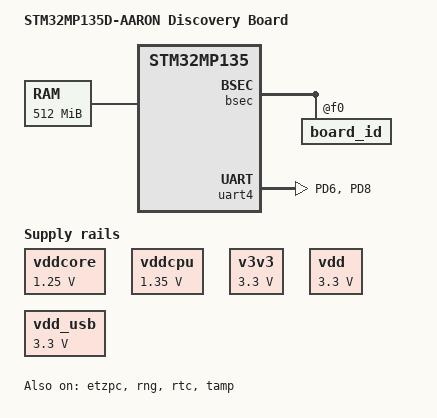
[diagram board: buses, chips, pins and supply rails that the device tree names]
// SPDX-License-Identifier: (GPL-2.0-or-later OR BSD-3-Clause)
/*
 * Copyright (C) 2024, STMicroelectronics - All Rights Reserved
 * Author: STM32CubeMX code generation for STMicroelectronics.
 */

/* For more information on Device Tree configuration, please refer to
 * https://wiki.st.com/stm32mpu/wiki/Category:Device_tree_configuration
 */

 /dts-v1/;
 #include <dt-bindings/pinctrl/stm32-pinfunc.h>
 #include <dt-bindings/clock/stm32mp13-clksrc.h>
 #include <dt-bindings/soc/stm32mp13-etzpc.h>
 #include <dt-bindings/gpio/stm32mp_gpio.h>
 #include <dt-bindings/power/stm32mp1-power.h>
 #include <dt-bindings/soc/stm32mp-tzc400-macro.h>
 #include <dt-bindings/soc/stm32mp13-tzc400.h>
 #include <dt-bindings/rtc/rtc-stm32.h>

 #include "stm32mp135.dtsi"
 #include "stm32mp13xd.dtsi"
 #include "stm32mp13-pinctrl.dtsi"
 
/ {
	model = "STM32MP135D-AARON Discovery Board";
	compatible = "st,stm32mp135d-aaron-mx", "st,stm32mp135";

	aliases {
		serial0 = &uart4;
	};

	chosen {
		stdout-path = "serial0:115200n8";
	};
	
	memory@c0000000 {
		device_type = "memory";
		reg = <0xc0000000 0x20000000>;
	};

	clocks {
		clk_hsi: clk-hsi {
			clock-frequency = <64000000>;
		};
		clk_lse: clk-lse {
			clock-frequency = <32768>;
			st,bypass;
		};
		clk_hse: clk-hse {
			clock-frequency = <24000000>;
			st,bypass;
		};
		clk_i2sin: clk-i2sin {
			status = "disabled";
		};
	};

	vddcore: vddcore {
        compatible = "regulator-fixed";
        regulator-name = "vddcore";
        regulator-min-microvolt = <1250000>;
        regulator-max-microvolt = <1250000>;
        regulator-off-in-suspend;
        regulator-always-on;
	};

	vddcpu: vddcpu {
		compatible = "regulator-fixed";
		regulator-name = "vddcpu";
		regulator-min-microvolt = <1350000>;
		regulator-max-microvolt = <1350000>;
        regulator-off-in-suspend;
        regulator-always-on;
	};	
	
	v3v3: v3v3 {
        compatible = "regulator-fixed";
        regulator-name = "v3v3";
        regulator-min-microvolt = <3300000>;
        regulator-max-microvolt = <3300000>;
        regulator-off-in-suspend;
        regulator-always-on;
    };

	vdd: vdd {
        compatible = "regulator-fixed";
        regulator-name = "vdd";
        regulator-min-microvolt = <3300000>;
        regulator-max-microvolt = <3300000>;
        regulator-off-in-suspend;
        regulator-always-on;
    };

	vdd_usb: vdd_usb {
        compatible = "regulator-fixed";
        regulator-name = "vdd_usb";
        regulator-min-microvolt = <3300000>;
        regulator-max-microvolt = <3300000>;
        regulator-off-in-suspend;
        regulator-always-on;
    };
};

&bsec {
	board_id: board_id@f0 {
		reg = <0xf0 0x4>;
		st,non-secure-otp;
	};
};

&cpu0 {
	cpu-supply = <&vddcpu>;
};
 
&etzpc{
	status = "okay";
	st,decprot = <
	/*"NS_R S_W" peripherals*/
	DECPROT(STM32MP1_ETZPC_DDRCTRLPHY_ID, DECPROT_NS_R_S_W, DECPROT_UNLOCK)
	/*"Non Secured" peripherals*/
	DECPROT(STM32MP1_ETZPC_SDMMC1_ID, DECPROT_NS_RW, DECPROT_UNLOCK)
	DECPROT(STM32MP1_ETZPC_OTG_ID, DECPROT_NS_RW, DECPROT_UNLOCK)
	DECPROT(STM32MP1_ETZPC_USBPHYCTRL_ID, DECPROT_NS_RW, DECPROT_UNLOCK)
	/*"Secured" peripherals*/
	DECPROT(STM32MP1_ETZPC_STGENC_ID, DECPROT_S_RW, DECPROT_UNLOCK)
	DECPROT(STM32MP1_ETZPC_HASH_ID, DECPROT_S_RW, DECPROT_UNLOCK)
	DECPROT(STM32MP1_ETZPC_I2C4_ID, DECPROT_S_RW, DECPROT_UNLOCK)
	DECPROT(STM32MP1_ETZPC_PKA_ID, DECPROT_S_RW, DECPROT_UNLOCK)
	DECPROT(STM32MP1_ETZPC_RNG_ID, DECPROT_S_RW, DECPROT_UNLOCK)
	DECPROT(STM32MP1_ETZPC_SAES_ID, DECPROT_S_RW, DECPROT_UNLOCK)
	DECPROT(STM32MP1_ETZPC_SRAM1_ID, DECPROT_NS_RW, DECPROT_UNLOCK)
	DECPROT(STM32MP1_ETZPC_SRAM2_ID, DECPROT_NS_RW, DECPROT_UNLOCK)
	DECPROT(STM32MP1_ETZPC_SRAM3_ID, DECPROT_S_RW, DECPROT_UNLOCK)
	DECPROT(STM32MP1_ETZPC_STGENC_ID, DECPROT_S_RW, DECPROT_UNLOCK)
	>;
};

&pwr_regulators {
	system_suspend_supported_soc_modes = <
		STM32_PM_CSLEEP_RUN
		STM32_PM_CSTOP_ALLOW_LP_STOP
//		STM32_PM_CSTOP_ALLOW_LPLV_STOP
//		STM32_PM_CSTOP_ALLOW_LPLV_STOP2
//		STM32_PM_CSTOP_ALLOW_STANDBY_DDR_SR
	>;

	system_off_soc_mode = <STM32_PM_CSTOP_ALLOW_STANDBY_DDR_OFF>;
	vdd-supply = <&vdd>;
	vdd_3v3_usbfs-supply = <&vdd_usb>;
};

&rcc {
	status = "okay";
	clocks = <&clk_hse>, <&clk_hsi>, <&clk_lse>, <&clk_lsi>, <&clk_csi>;
	clock-names = "clk-hse", "clk-hsi", "clk-lse", "clk-lsi", "clk-csi";

	st,clksrc = <
		CLK_MPU_PLL1P
		CLK_AXI_PLL2P
		CLK_MLAHBS_PLL3
		CLK_RTC_LSI
		CLK_MCO1_DISABLED
		CLK_MCO2_DISABLED
		CLK_CKPER_HSE
		CLK_SDMMC1_PLL4P
		CLK_STGEN_HSE
		CLK_USBO_USBPHY
		CLK_UART4_HSI
		CLK_RNG1_PLL4R
	>;
	st,clkdiv = <
		DIV(DIV_MPU, 1)
		DIV(DIV_AXI, 0)
		DIV(DIV_MLAHB, 0)
		DIV(DIV_APB1, 1)
		DIV(DIV_APB2, 1)
		DIV(DIV_APB3, 1)
		DIV(DIV_APB4, 1)
		DIV(DIV_APB5, 2)
		DIV(DIV_APB6, 1)
		DIV(DIV_RTC, 0)
		DIV(DIV_MCO1, 0)
		DIV(DIV_MCO2, 0)
	>;
	st,pll_vco {
		pll1_vco_1300Mhz: pll1-vco-1300Mhz {
			src = < CLK_PLL12_HSE >;
			divmn = < 2 80 >;
			frac = < 0x800 >;
		};
		pll2_vco_1066Mhz: pll2-vco-1066Mhz {
			src = < CLK_PLL12_HSE >;
			divmn = < 2 65 >;
			frac = < 0x1400 >;
		};
		pll3_vco_400Mhz: pll3-vco-400Mhz {
			src = < CLK_PLL3_HSE >;
			divmn = < 2 49 >;
		};
		pll4_vco_600Mhz: pll4-vco-600Mhz {
			src = < CLK_PLL4_HSE >;
			divmn = < 1 49 >;
		};
	};

	pll1:st,pll@0 {
		compatible = "st,stm32mp1-pll";
		reg = <0>;

		st,pll = < &pll1_cfg1 >;

		pll1_cfg1: pll1_cfg1 {
			st,pll_vco = < &pll1_vco_1300Mhz >;
			st,pll_div_pqr = < 0 1 1 >;
		};
	};

	pll2:st,pll@1 {
		compatible = "st,stm32mp1-pll";
		reg = <1>;

		st,pll = < &pll2_cfg1 >;

		pll2_cfg1: pll2_cfg1 {
			st,pll_vco = < &pll2_vco_1066Mhz >;
			st,pll_div_pqr = < 1 1 0 >;
		};
	};

	pll3:st,pll@2 {
		compatible = "st,stm32mp1-pll";
		reg = <2>;

		st,pll = < &pll3_cfg1 >;

		pll3_cfg1: pll3_cfg1 {
			st,pll_vco = < &pll3_vco_400Mhz >;
			st,pll_div_pqr = < 1 1 1 >;
		};
	};

	pll4:st,pll@3 {
		compatible = "st,stm32mp1-pll";
		reg = <3>;
		st,pll = < &pll4_cfg1 >;

		pll4_cfg1: pll4_cfg1 {
			st,pll_vco = < &pll4_vco_600Mhz >;
			st,pll_div_pqr = < 11 59 12 >;
		};
	};

	st,clk_opp {
		/* CK_MPU clock config for MP13 */
		st,ck_mpu {

			cfg_1 {
				hz = < 650000000 >;
				st,clksrc = < CLK_MPU_PLL1P >;
				st,pll = < &pll1_cfg1 >;
			};
		};
	};
};

&rng {
	status = "okay";
	clock-error-detect;
};

&rtc{
	status = "okay";
};

&tamp{
	status = "okay";
};

&uart4 {
	pinctrl-names = "default";
	pinctrl-0 = <&uart4_pins_a>;
	status = "okay";
};

&pinctrl {
	uart4_pins_a: uart4-0 {
		pins1 {
			pinmux = <STM32_PINMUX('D', 6, AF8)>; /* UART4_TX */
			bias-disable;
			drive-push-pull;
			slew-rate = <0>;
		};
		pins2 {
			pinmux = <STM32_PINMUX('D', 8, AF8)>; /* UART4_RX */
			bias-disable;
		};
	};
};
